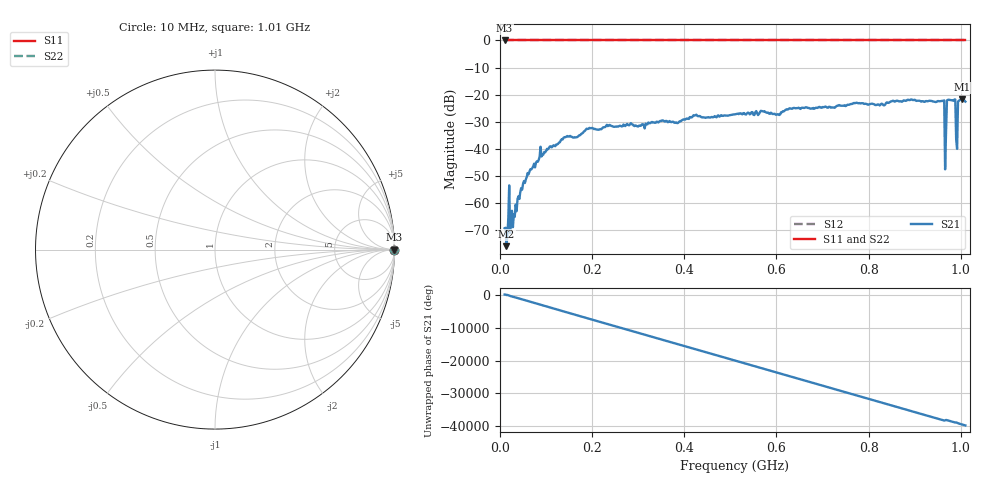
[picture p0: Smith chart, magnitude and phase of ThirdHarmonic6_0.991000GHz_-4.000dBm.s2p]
! 8/16/2025 7:50:24 AM
! C:\ANRITSUVNA\TEMP\TEMP.S2P
! CHANNEL.1
! TR.MEASUREMENT
! RAW.DATA
! RF.CORRECTION.OFF
! AVERAGING.OFF
! IF.BANDWIDTH: 5KHZ
! SWEEPTYPE:  FREQ.SWEEP(Linear)
! Reference Plane Port Info
! PORT:  PORT1  PORT2
! DISTANCE:  0  m  0  m
! TIME:  0  s  0  s
! PHASE.OFFSET:  0  deg.  0  deg.
! LOSS:  0  dB  0  dB
! REF.LOSS:  0  dB  0  dB
! REF.FREQ:  0  Hz  0  Hz
! Power Info
! POWER:  -20  dBm  -20  dBm
! EFF.POWER:  -20  dBm  -20  dBm
! SOURCE.ATTEN:  0  dB  0  dB
! TEST.ATTEN:  0  dB  0  dB
# GHZ S RI R 50.0
! FREQ.GHZ  S11RE  S11IM  S21RE  S21IM  S12RE  S12IM  S22RE  S22IM
!; PortSelection: Port_12
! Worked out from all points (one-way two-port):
!   501 points, 10 MHz to 1.01 GHz, reference 50 ohm
!   highest |S21| = -21.75 dB at 1.002 GHz (marker M1); lowest = -75.9 dB at 14 MHz (marker M2)
!   lowest |S11| = 0.0 dB at 10 MHz (marker M3)
!   |S11| at or under -10 dB: nowhere
!   |S22| runs from 0.0 to 0.0 dB; largest |S21 - S12| = 1.1
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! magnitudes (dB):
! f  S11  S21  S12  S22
! 10 MHz  0.0  -69.3  0.0  0.0
! 14 MHz  0.0  -75.9  0.0  0.0
! 22 MHz  0.0  -71.0  0.0  0.0
! 26 MHz  0.0  -62.8  0.0  0.0
! 32 MHz  0.0  -65.1  0.0  0.0
! 48 MHz  0.0  -55.1  0.0  0.0
! 84 MHz  0.0  -44.0  0.0  0.0
! 178 MHz  0.0  -34.3  0.0  0.0
! 344 MHz  0.0  -30.2  0.0  0.0
! 510 MHz  0.0  -27.3  0.0  0.0
! 678 MHz  0.0  -25.1  0.0  0.0
! 844 MHz  0.0  -23.0  0.0  0.0
! 960 MHz  0.0  -22.3  0.0  0.0
! 964 MHz  0.0  -22.1  0.0  0.0
! 970 MHz  0.0  -22.1  0.0  0.0
! 974 MHz  0.0  -21.9  0.0  0.0
! 984 MHz  0.0  -22.3  0.0  0.0
! 988 MHz  0.0  -21.8  0.0  0.0
! 994 MHz  0.0  -22.5  0.0  0.0
! 998 MHz  0.0  -22.0  0.0  0.0
! 1.002 GHz  0.0  -21.7  0.0  0.0
! 1.01 GHz  0.0  -22.6  0.0  0.0
